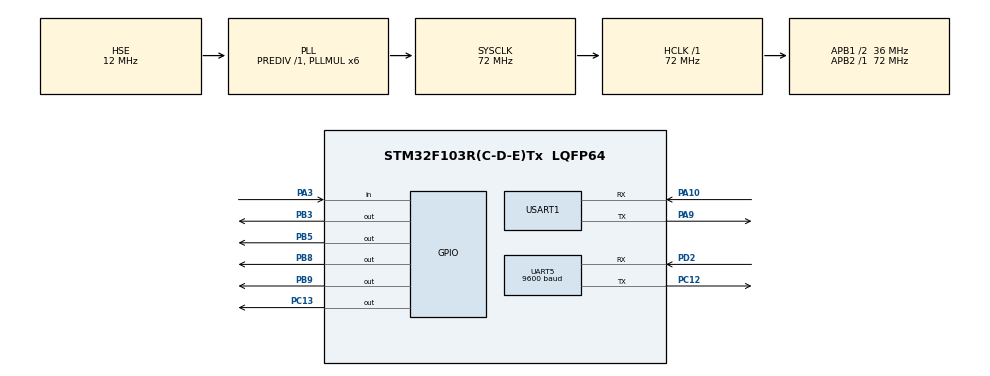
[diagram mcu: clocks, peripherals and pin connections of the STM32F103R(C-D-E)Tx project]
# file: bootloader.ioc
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Mcu.Family=STM32F1
Mcu.Name=STM32F103R(C-D-E)Tx
Mcu.Package=LQFP64
NVIC.PriorityGroup=NVIC_PRIORITYGROUP_4
NVIC.UART5_IRQn=true\:1\:0\:true\:false\:true\:true\:true
NVIC.USART1_IRQn=true\:2\:0\:true\:false\:true\:true\:true
PA10.Mode=Asynchronous
PA10.Signal=USART1_RX
PA3.Signal=GPIO_Input
PA9.Mode=Asynchronous
PA9.Signal=USART1_TX
PB3.GPIO_PuPd=GPIO_PULLUP
PB3.Signal=GPIO_Output
PB5.Signal=GPIO_Output
PB8.Signal=GPIO_Output
PB9.Signal=GPIO_Output
PC12.Mode=Asynchronous
PC12.Signal=UART5_TX
PC13-TAMPER-RTC.Signal=GPIO_Output
PD0-OSC_IN.Mode=HSE-External-Oscillator
PD0-OSC_IN.Signal=RCC_OSC_IN
PD1-OSC_OUT.Mode=HSE-External-Oscillator
PD1-OSC_OUT.Signal=RCC_OSC_OUT
PD2.Mode=Asynchronous
PD2.Signal=UART5_RX
ProjectManager.HeapSize=0x200
ProjectManager.StackSize=0x400
ProjectManager.TargetToolchain=STM32CubeIDE
RCC.AHBFreq_Value=72000000
RCC.APB1CLKDivider=RCC_HCLK_DIV2
RCC.APB1Freq_Value=36000000
RCC.APB1TimFreq_Value=72000000
RCC.APB2Freq_Value=72000000
RCC.APB2TimFreq_Value=72000000
RCC.HCLKFreq_Value=72000000
RCC.HSE_VALUE=12000000
RCC.PLLMUL=RCC_PLL_MUL6
RCC.PLLSourceVirtual=RCC_PLLSOURCE_HSE
RCC.SYSCLKFreq_VALUE=72000000
RCC.SYSCLKSource=RCC_SYSCLKSOURCE_PLLCLK
RCC.USBFreq_Value=72000000
UART5.BaudRate=9600
UART5.VirtualMode=Asynchronous
USART1.VirtualMode=VM_ASYNC
VP_CRC_VS_CRC.Mode=CRC_Activate
VP_SYS_VS_ND.Mode=No_Debug
board=custom

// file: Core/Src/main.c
/* USER CODE BEGIN Header */
/**
 ******************************************************************************
 * @file           : main.c
 * @brief          : Main program body
 ******************************************************************************
 * @attention
 *
 * <h2><center>&copy; Copyright (c) 2021 STMicroelectronics.
 * All rights reserved.</center></h2>
 *
 * This software component is licensed by ST under BSD 3-Clause license,
 * the "License"; You may not use this file except in compliance with the
 * License. You may obtain a copy of the License at:
 *                        opensource.org/licenses/BSD-3-Clause
 *
 ******************************************************************************
 */
/* USER CODE END Header */
#include "main.h"
#include "crc.h"
#include "usart.h"
#include "gpio.h"

/* USER CODE BEGIN Includes */
#include <stdio.h>
#include <string.h>
#include "quectelm95.h"
#include "flash_if.h"
/* USER CODE END Includes */

/* USER CODE BEGIN PD */
#define UPDATE_INDICATOR	((uint32_t)0x08005800)
#define FTP_IP				((uint32_t)0x08005808)
#define FTP_PORT			((uint32_t)0x08005828)
#define FTP_FILENAME		((uint32_t)0x08005848)
#define PHONE_NUMBER		((uint32_t)0x08005868)

/* USER CODE END PD */

/* USER CODE BEGIN PV */
typedef void (*pFunction)(void);

pFunction JumpToApplication;
uint32_t JumpAddress;

uint8_t ftpIp[20] = "175.158.47.234";
uint8_t ftpPort[12] = "54218";
uint8_t phoneNum[20] = "089670947492";
uint8_t fileName[32] = "app.bin";
uint8_t totalFile;
uint8_t ftpUser[12] = "dev";
uint8_t ftpPass[12] = "sewul2912";
uint32_t indicatorValue = 0x000000;
uint8_t status = 1;
uint8_t smsMessage[50] = "Firmware update success";
uint8_t updateMode = 0;

/* USER CODE END PV */

void SystemClock_Config(void);
/* USER CODE BEGIN PFP */
uint8_t DownloadFile(uint8_t *fileName, uint32_t fileSize);
void Read_FTPConfig(void);

/* USER CODE END PFP */

int main(void)
{

  /* MCU Configuration--------------------------------------------------------*/

  /* Reset of all peripherals, Initializes the Flash interface and the Systick. */
  HAL_Init();

  /* Configure the system clock */
  SystemClock_Config();

  /* Initialize all configured peripherals */
  MX_GPIO_Init();
  MX_CRC_Init();
  MX_UART5_Init();
  MX_USART1_UART_Init();
  /* USER CODE BEGIN 2 */
	LL_USART_EnableIT_RXNE(UART5);
//	LL_USART_EnableIT_RXNE(USART1);

	/* check for update */
	if(*(__IO uint32_t*) UPDATE_INDICATOR == 0xABABABAB){
		updateMode = 1;
		HAL_GPIO_WritePin(GPIOC, GPIO_PIN_13, GPIO_PIN_SET);
		HAL_GPIO_WritePin(GPIOB, GPIO_PIN_9, GPIO_PIN_SET);
		HAL_GPIO_WritePin(GPIOB, GPIO_PIN_8, GPIO_PIN_SET);

		uint32_t timeout = 0;
		uint8_t modem_initCounter = 0;

		printf("\r\nFirmware update mode\r\n");
		/* Read FTP configuration from EEPROM */
		Read_FTPConfig();

		while (modem_initCounter++ < 3) {
			if (M95_Init())
				break;
		}

		M95_SendATCommand("AT+CGREG=1\r", 10000);
		M95_SendATCommand("AT+CMGF=1\r", 10000);
		M95_SendATCommand("AT+CSCS=\"GSM\"\r", 10000);

		FLASH_If_Init();
		FLASH_If_Write(UPDATE_INDICATOR, (uint32_t*) indicatorValue, 1);

		/* Wait untill internet connection is ready */
		timeout = HAL_GetTick();
		while (HAL_GetTick() - timeout < 60000 * 5) {
			if (m95.GPRSSignal)
				break;
		}

		/* Set FTP username and password */
		M95_FTPConfig(ftpUser, ftpPass, fileName);

		if (m95.GPRSSignal) {

			/* Open connection with FTP server */
			if (M95_FTPOpen(ftpIp, ftpPort)) {
				char buffer[100]={0};

				/* Check the new firmware file size
				 * Skip firmware update if file size exceeds the predetermined memory allocation */
				sprintf(buffer, "%s.%d",fileName,totalFile);
				m95.FTP.FileSize = M95_FTPFileSize(buffer);
				if (m95.FTP.FileSize != 0 && (m95.FTP.FileSize + 4096*totalFile) < USER_FLASH_SIZE) {

					printf("Create backup point\r\n");
					/* Free up APPLICATION_2 space */
					FLASH_If_Erase(APPLICATION_2, USER_FLASH_END_ADDRESS);

					/* Copy old firmware (APPLICATION_1) to APPLICATION_2 */
					FLASH_If_Write(APPLICATION_2,(uint32_t*) APPLICATION_1, USER_FLASH_SIZE / 4);

					/* Free up APPLICATION_1 space */
					FLASH_If_Erase(APPLICATION_1, APPLICATION_2);

					/* Download new firmware and write to APPLICATION_1 */
					if (!DownloadFile(fileName, m95.FTP.FileSize + 4096*totalFile)) {
						HAL_GPIO_WritePin(GPIOB, GPIO_PIN_9, GPIO_PIN_RESET);
						m95.FTP.DataMode = 0;
						m95.AtCommand.status = Module_Idle;
						FLASH_If_Erase(APPLICATION_1, APPLICATION_2);

						/* Copy old firmware (APPLICATION_1) to APPLICATION_2 */
						FLASH_If_Write(APPLICATION_1, (uint32_t*) APPLICATION_2,
								USER_FLASH_SIZE / 4);
						strcpy(smsMessage, "Firmware update failed\nERROR:1");

						status = 0;

					}

//					HAL_NVIC_SystemReset();
				} else {
					m95.FTP.DataMode = 0;
					HAL_GPIO_WritePin(GPIOB, GPIO_PIN_9, GPIO_PIN_RESET);
					strcpy(smsMessage, "Firmware update failed\nERROR:2");
					status = 0;
				}

			}
			else{
				m95.FTP.DataMode = 0;
				HAL_GPIO_WritePin(GPIOB, GPIO_PIN_9, GPIO_PIN_RESET);
				status = 0;
				strcpy(smsMessage, "Firmware update failed\nERROR:3");
			}
		} else {
			m95.FTP.DataMode = 0;
			HAL_GPIO_WritePin(GPIOB, GPIO_PIN_9, GPIO_PIN_RESET);
			status = 0;
			strcpy(smsMessage, "Firmware update failed\nERROR:4");

		}

		printf(smsMessage);
		printf("\r\n");
		M95_SMSSend(phoneNum, smsMessage);
		HAL_Delay(500);
	}

	/* Run application */
	JumpAddress = *(__IO uint32_t*) (APPLICATION_1 + 4);
	JumpToApplication = (pFunction) JumpAddress;

	/* Initialize user application's Stack Pointer */
	__set_MSP(*(__IO uint32_t*) APPLICATION_1);
	JumpToApplication();

  /* USER CODE END 2 */

  /* Infinite loop */
	while (1) {

	}
}

void SystemClock_Config(void)
{
  RCC_OscInitTypeDef RCC_OscInitStruct = {0};
  RCC_ClkInitTypeDef RCC_ClkInitStruct = {0};

  /** Initializes the RCC Oscillators according to the specified parameters
  * in the RCC_OscInitTypeDef structure.
  */
  RCC_OscInitStruct.OscillatorType = RCC_OSCILLATORTYPE_HSE;
  RCC_OscInitStruct.HSEState = RCC_HSE_ON;
  RCC_OscInitStruct.HSEPredivValue = RCC_HSE_PREDIV_DIV1;
  RCC_OscInitStruct.HSIState = RCC_HSI_ON;
  RCC_OscInitStruct.PLL.PLLState = RCC_PLL_ON;
  RCC_OscInitStruct.PLL.PLLSource = RCC_PLLSOURCE_HSE;
  RCC_OscInitStruct.PLL.PLLMUL = RCC_PLL_MUL6;
  if (HAL_RCC_OscConfig(&RCC_OscInitStruct) != HAL_OK)
  {
    Error_Handler();
  }
  /** Initializes the CPU, AHB and APB buses clocks
  */
  RCC_ClkInitStruct.ClockType = RCC_CLOCKTYPE_HCLK|RCC_CLOCKTYPE_SYSCLK
                              |RCC_CLOCKTYPE_PCLK1|RCC_CLOCKTYPE_PCLK2;
  RCC_ClkInitStruct.SYSCLKSource = RCC_SYSCLKSOURCE_PLLCLK;
  RCC_ClkInitStruct.AHBCLKDivider = RCC_SYSCLK_DIV1;
  RCC_ClkInitStruct.APB1CLKDivider = RCC_HCLK_DIV2;
  RCC_ClkInitStruct.APB2CLKDivider = RCC_HCLK_DIV1;

  if (HAL_RCC_ClockConfig(&RCC_ClkInitStruct, FLASH_LATENCY_2) != HAL_OK)
  {
    Error_Handler();
  }
}

/* USER CODE BEGIN 4 */

void Read_FTPConfig(void) {
	uint32_t address = 0;
	uint8_t buffer[32] = { 0 };
	uint8_t x = 0;

	/* Read FTP IP address */
	for (address = FTP_IP, x = 0; address < FTP_IP + 20; address++, x++) {
		if (*(__IO uint8_t*) address == 0||*(__IO uint8_t*) address == 0xFF)
			break;
		buffer[x] = *(__IO uint8_t*) address;
	}
	if (strlen(buffer) > 7) {
		strcpy(ftpIp, buffer);
	}

	printf("FTP IP Address: %s\r\n", ftpIp);
	memset(buffer, 0, sizeof(buffer));

	/* Read FTP port */
	for (address = FTP_PORT, x = 0; address < FTP_PORT + 20; address++, x++) {
		if (*(__IO uint8_t*) address == 0||*(__IO uint8_t*) address == 0xFF)
			break;
		buffer[x] = *(__IO uint8_t*) address;
	}

	if (strlen(buffer) > 1) {
		strcpy(ftpPort, buffer);
	}
	printf("FTP Port: %s\r\n", ftpPort);
	memset(buffer, 0, sizeof(buffer));

	/* Read firmware file name */
	for (address = FTP_FILENAME, x = 0; address < FTP_FILENAME + 32;
			address++, x++) {
		if (*(__IO uint8_t*) address == 0||*(__IO uint8_t*) address == 0xFF||*(__IO uint8_t*) address == 0x0D)
			break;
		buffer[x] = *(__IO uint8_t*) address;
	}

	if (strlen(buffer) > 3) {
		uint8_t parseFileName = 1;
		uint x = 0;
		uint8_t buffer2[5] = {0};
		for(int i = 0; i<strlen(buffer);i++){

			if(parseFileName){
				fileName[i] = buffer[i];
			}
			else{
				if(buffer[i]=='.')continue;
				buffer2[i - x] = buffer[i];
			}
			if(buffer[i]=='n'&&buffer[i+1]=='.'){
				parseFileName = 0;
				x = i + 2;
			}
		}
		totalFile = atoi(buffer2);
		//strcpy(fileName, buffer);
	}
	memset(buffer, 0, sizeof(buffer));

	/* Read sender phone number */
	for (address = PHONE_NUMBER, x = 0; address < PHONE_NUMBER + 32;
			address++, x++) {
		if (*(__IO uint8_t*) address == 0||*(__IO uint8_t*) address == 0xFF||*(__IO uint8_t*) address == 0x0D)
			break;
		buffer[x] = *(__IO uint8_t*) address;
	}
	if (strlen(buffer) > 7) {
		strcpy(phoneNum, buffer);
	}
	printf("Sender Phone Number: %s\r\n", phoneNum);

	printf("File name: %s\r\n", fileName);
	printf("Total file: %d\r\n", totalFile);

}

uint8_t DownloadFile(uint8_t *fileName, uint32_t fileSize) {

	uint16_t totalPacket = 0;
	uint16_t packetDataIndex = 0;
	uint32_t flashDestination = 0;
	uint32_t CRCFile = 0;
	uint32_t CRCCalculated = 0;
	uint16_t packetLength = 4096;
	uint8_t status = 0;
	uint32_t ramsource = 0;
	uint32_t timeout = 0;
	uint32_t timeout2 = 0;
	uint8_t buffer[100] = {0};

	/* data dari ftp dibagi menjadi kibibytes packet */
	m95.FTP.TotalPacket = fileSize / 4096;

	/* Set APPLICATION_1 as starting point to be flash */
	flashDestination = APPLICATION_1;

	/* Request to get file from FTP server */

	printf("\nDownload new firmware\r\n");

	timeout = HAL_GetTick();
	timeout2 = timeout;
	while (m95.FTP.PacketIndex <= m95.FTP.TotalPacket) {
		if(HAL_GetTick() - timeout2> 30000)break;

		sprintf(buffer, "%s.%d",fileName,m95.FTP.PacketIndex);
		if (M95_FTPGetFile(buffer)==true) {

			timeout2 = HAL_GetTick();
			while(HAL_GetTick() - timeout< 90000){
				if (m95.FTP.PacketReady) {

					m95.FTP.PacketReady = 0;
					if (m95.FTP.PacketIndex == m95.FTP.TotalPacket) {
						packetLength = (fileSize % 4096) - 4;

						CRCFile =
								((uint32_t) m95.FTP.FtpPacket[packetLength])
										| ((uint32_t) m95.FTP.FtpPacket[packetLength
												+ 1]) << 8
										| ((uint32_t) m95.FTP.FtpPacket[packetLength
												+ 2]) << 16
										| ((uint32_t) m95.FTP.FtpPacket[packetLength
												+ 3]) << 24;
					}
					ramsource =
							(uint32_t) & m95.FTP.FtpPacket;
					if (FLASH_If_Write(flashDestination, (uint32_t*) ramsource,
							packetLength / 4) == FLASHIF_OK) {
		//					printf("write ok\r\n");
						timeout = HAL_GetTick();
						memset(m95.FTP.FtpPacket, 0,sizeof(m95.FTP.FtpPacket));
						flashDestination += packetLength;
						m95.FTP.PacketIndex++;
						printf("Update process %lu of %lu\r\n",m95.FTP.PacketIndex,  m95.FTP.TotalPacket+1);
						break;
					} else
						break;

				}
			}
		}
		else break;

	}
	/* Perform CRC checksum */
	CRCCalculated = HAL_CRC_Calculate(&hcrc, (uint32_t*) APPLICATION_1,
			(fileSize - 4) / 4);
	printf("CRC File: %lu\r\n", CRCFile);
	printf("CRC Calculated: %lu\r\n", CRCCalculated);
	if (CRCCalculated == CRCFile) {
		status = 1;
	}
	return status;

}
/* USER CODE END 4 */

void Error_Handler(void)
{
	__disable_irq();
	while (1) {
	}
}

/************************ (C) COPYRIGHT STMicroelectronics *****END OF FILE****/
